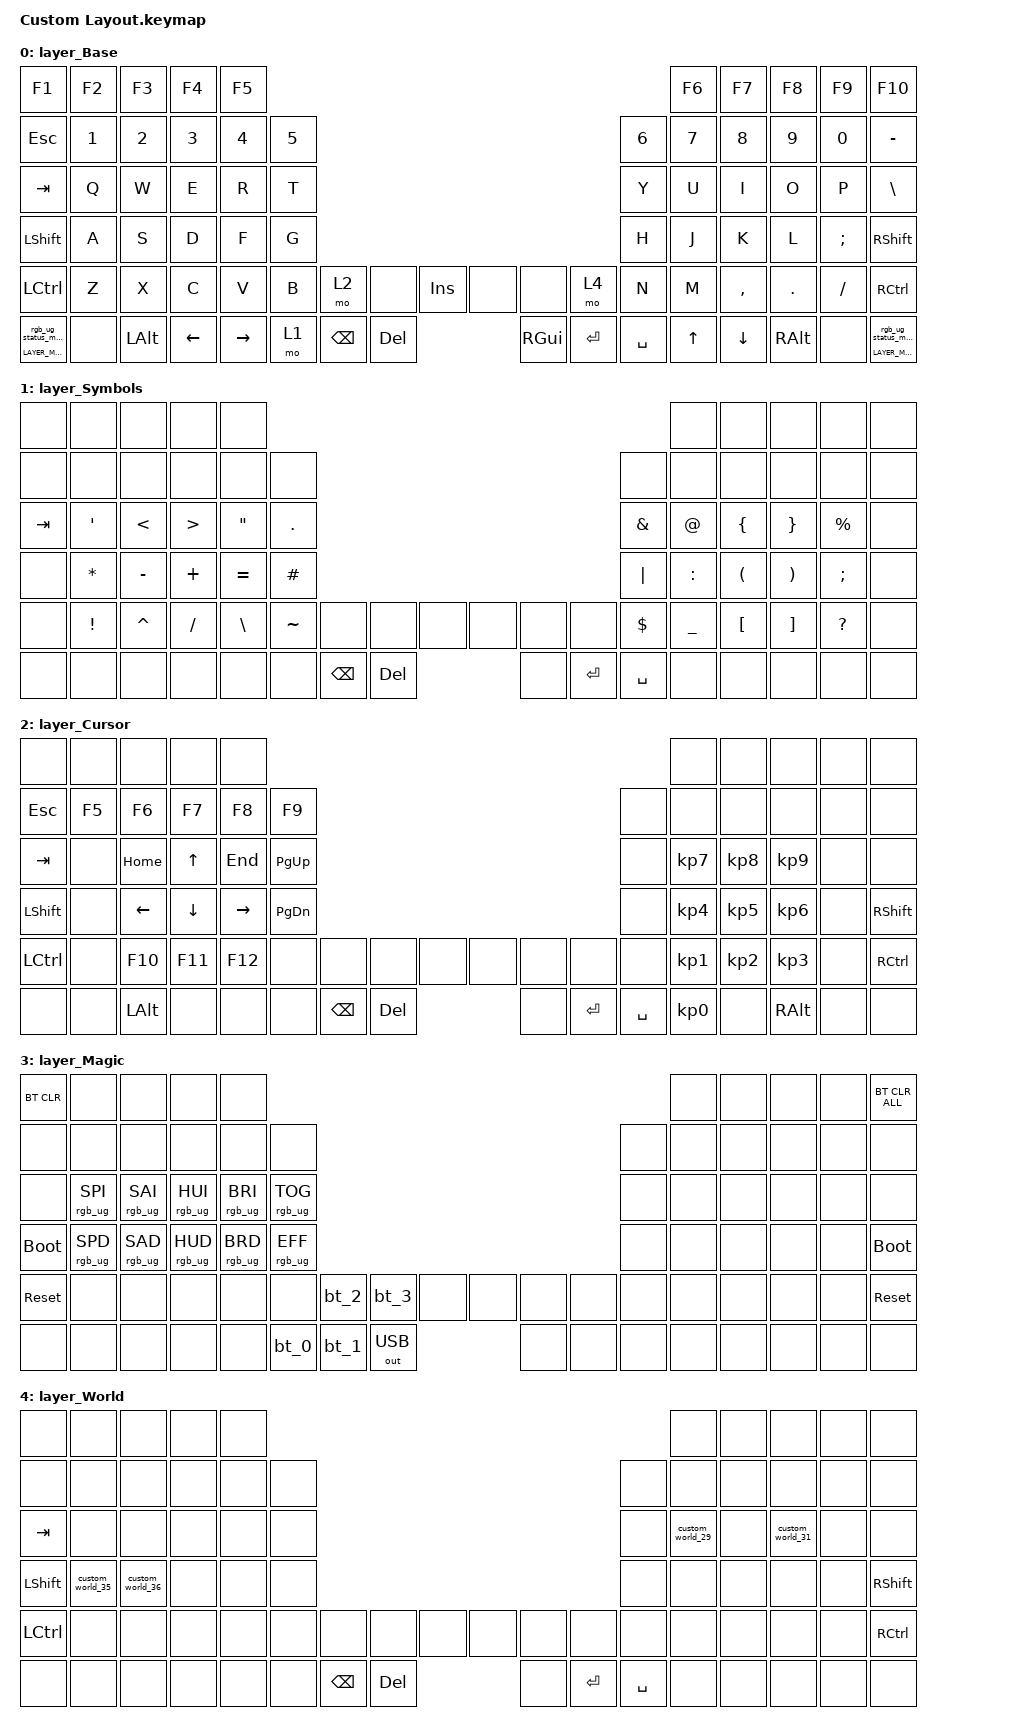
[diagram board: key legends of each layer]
/*
 * Copyright (c) 2020 The ZMK Contributors
 * Copyright (c) 2025 Innaworks Development Limited, trading as MoErgo
 *
 * SPDX-License-Identifier: MIT
 */


/* THIS FILE WAS GENERATED BY GLOVE80 LAYOUT EDITOR
 *
 * This file was generated automatically. You may or may not want to
 * edit it directly.
 */

#include <behaviors.dtsi>
/* Include all behavior includes needed */
#include <dt-bindings/zmk/outputs.h>
#include <dt-bindings/zmk/keys.h>
#include <dt-bindings/zmk/bt.h>
#include <dt-bindings/zmk/rgb.h>

/* On demand includes */


/* Automatically generated layer name #define */
#define LAYER_Base 0
#define LAYER_Symbols 1
#define LAYER_Cursor 2
#define LAYER_Magic 3
#define LAYER_World 4

/* To deal with the situation where there is no Lower layer, to keep &lower happy */
#ifndef LAYER_Lower
#define LAYER_Lower 0
#endif

/* Custom Device-tree */


/* Input Listeners */


/* System behavior and Macros */
/ {
    behaviors {
        // For the "layer" key, it'd nice to be able to use it as either a shift or a toggle.
        // Configure it as a tap dance, so the first tap (or hold) is a &mo and the second tap is a &to
        lower: lower {
            compatible = "zmk,behavior-tap-dance";
            label = "LAYER_TAP_DANCE";
            #binding-cells = <0>;
            tapping-term-ms = <200>;
            bindings = <&mo LAYER_Lower>, <&to LAYER_Lower>;
        };
    };
};

/ {
    macros {
        rgb_ug_status_macro: rgb_ug_status_macro {
            label = "RGB_UG_STATUS";
            compatible = "zmk,behavior-macro";
            #binding-cells = <0>;
            bindings
                = <&rgb_ug RGB_STATUS>;
        };
    };
};


/ {
#ifdef BT_DISC_CMD
    behaviors {
        bt_0: bt_0 {
            compatible = "zmk,behavior-tap-dance";
            label = "BT_0";
            #binding-cells = <0>;
            tapping-term-ms = <200>;
            bindings = <&bt_select_0>, <&bt BT_DISC 0>;
        };
        bt_1: bt_1 {
            compatible = "zmk,behavior-tap-dance";
            label = "BT_1";
            #binding-cells = <0>;
            tapping-term-ms = <200>;
            bindings = <&bt_select_1>, <&bt BT_DISC 1>;
        };
        bt_2: bt_2 {
            compatible = "zmk,behavior-tap-dance";
            label = "BT_2";
            #binding-cells = <0>;
            tapping-term-ms = <200>;
            bindings = <&bt_select_2>, <&bt BT_DISC 2>;
        };
        bt_3: bt_3 {
            compatible = "zmk,behavior-tap-dance";
            label = "BT_3";
            #binding-cells = <0>;
            tapping-term-ms = <200>;
            bindings = <&bt_select_3>, <&bt BT_DISC 3>;
        };
    };
    macros {
        bt_select_0: bt_select_0 {
            label = "BT_SELECT_0";
            compatible = "zmk,behavior-macro";
            #binding-cells = <0>;
            bindings
                = <&out OUT_BLE>,
                  <&bt BT_SEL 0>;
        };
        bt_select_1: bt_select_1 {
            label = "BT_SELECT_1";
            compatible = "zmk,behavior-macro";
            #binding-cells = <0>;
            bindings
                = <&out OUT_BLE>,
                  <&bt BT_SEL 1>;
        };
        bt_select_2: bt_select_2 {
            label = "BT_SELECT_2";
            compatible = "zmk,behavior-macro";
            #binding-cells = <0>;
            bindings
                = <&out OUT_BLE>,
                  <&bt BT_SEL 2>;
        };
        bt_select_3: bt_select_3 {
            label = "BT_SELECT_3";
            compatible = "zmk,behavior-macro";
            #binding-cells = <0>;
            bindings
                = <&out OUT_BLE>,
                  <&bt BT_SEL 3>;
        };
    };
#else
    macros {
        bt_0: bt_0 {
            label = "BT_0";
            compatible = "zmk,behavior-macro";
            #binding-cells = <0>;
            bindings
                = <&out OUT_BLE>,
                  <&bt BT_SEL 0>;
        };
        bt_1: bt_1 {
            label = "BT_1";
            compatible = "zmk,behavior-macro";
            #binding-cells = <0>;
            bindings
                = <&out OUT_BLE>,
                  <&bt BT_SEL 1>;
        };
        bt_2: bt_2 {
            label = "BT_2";
            compatible = "zmk,behavior-macro";
            #binding-cells = <0>;
            bindings
                = <&out OUT_BLE>,
                  <&bt BT_SEL 2>;
        };
        bt_3: bt_3 {
            label = "BT_3";
            compatible = "zmk,behavior-macro";
            #binding-cells = <0>;
            bindings
                = <&out OUT_BLE>,
                  <&bt BT_SEL 3>;
        };
    };
#endif
};

/ {
    behaviors {
        magic: magic {
            compatible = "zmk,behavior-hold-tap";
            label = "MAGIC_HOLD_TAP";
            #binding-cells = <2>;
            flavor = "tap-preferred";
            tapping-term-ms = <200>;
            bindings = <&mo>, <&rgb_ug_status_macro>;
        };
    };
};

/* #define for key positions */
#define POS_LH_T1 52
#define POS_LH_T2 53
#define POS_LH_T3 54
#define POS_LH_T4 69
#define POS_LH_T5 70
#define POS_LH_T6 71
#define POS_LH_C1R2 15
#define POS_LH_C1R3 27
#define POS_LH_C1R4 39
#define POS_LH_C1R5 51
#define POS_LH_C2R1 4
#define POS_LH_C2R2 14
#define POS_LH_C2R3 26
#define POS_LH_C2R4 38
#define POS_LH_C2R5 50
#define POS_LH_C2R6 68
#define POS_LH_C3R1 3
#define POS_LH_C3R2 13
#define POS_LH_C3R3 25
#define POS_LH_C3R4 37
#define POS_LH_C3R5 49
#define POS_LH_C3R6 67
#define POS_LH_C4R1 2
#define POS_LH_C4R2 12
#define POS_LH_C4R3 24
#define POS_LH_C4R4 36
#define POS_LH_C4R5 48
#define POS_LH_C4R6 66
#define POS_LH_C5R1 1
#define POS_LH_C5R2 11
#define POS_LH_C5R3 23
#define POS_LH_C5R4 35
#define POS_LH_C5R5 47
#define POS_LH_C5R6 65
#define POS_LH_C6R1 0
#define POS_LH_C6R2 10
#define POS_LH_C6R3 22
#define POS_LH_C6R4 34
#define POS_LH_C6R5 46
#define POS_LH_C6R6 64
#define POS_RH_T1 57
#define POS_RH_T2 56
#define POS_RH_T3 55
#define POS_RH_T4 74
#define POS_RH_T5 73
#define POS_RH_T6 72
#define POS_RH_C1R2 16
#define POS_RH_C1R3 28
#define POS_RH_C1R4 40
#define POS_RH_C1R5 58
#define POS_RH_C2R1 5
#define POS_RH_C2R2 17
#define POS_RH_C2R3 29
#define POS_RH_C2R4 41
#define POS_RH_C2R5 59
#define POS_RH_C2R6 75
#define POS_RH_C3R1 6
#define POS_RH_C3R2 18
#define POS_RH_C3R3 30
#define POS_RH_C3R4 42
#define POS_RH_C3R5 60
#define POS_RH_C3R6 76
#define POS_RH_C4R1 7
#define POS_RH_C4R2 19
#define POS_RH_C4R3 31
#define POS_RH_C4R4 43
#define POS_RH_C4R5 61
#define POS_RH_C4R6 77
#define POS_RH_C5R1 8
#define POS_RH_C5R2 20
#define POS_RH_C5R3 32
#define POS_RH_C5R4 44
#define POS_RH_C5R5 62
#define POS_RH_C5R6 78
#define POS_RH_C6R1 9
#define POS_RH_C6R2 21
#define POS_RH_C6R3 33
#define POS_RH_C6R4 45
#define POS_RH_C6R5 63
#define POS_RH_C6R6 79

/* Custom Defined Behaviors */
/ {
macros {   
    ascii_symbol_ae_lower: ascii_symbol_ae_lower{
        compatible = "zmk,behavior-macro";
        #binding-cells = <0>;
        wait-ms = <1>;
        tap-ms = <1>;
        bindings
           = <&macro_press   &kp LALT>
           , <&macro_tap     &kp KP_N1 &kp KP_N3 &kp KP_N2>
           , <&macro_release &kp LALT>
           ;
    };
    ascii_symbol_ae_upper: ascii_symbol_ae_upper{
        compatible = "zmk,behavior-macro";
        #binding-cells = <0>;
        wait-ms = <1>;
        tap-ms = <1>;
        bindings
           = <&macro_press   &kp LALT>
           , <&macro_tap     &kp KP_N1 &kp KP_N4 &kp KP_N2>
           , <&macro_release &kp LALT>
           ;
    };
    ascii_symbol_oe_lower: ascii_symbol_oe_lower{
        compatible = "zmk,behavior-macro";
        #binding-cells = <0>;
        wait-ms = <1>;
        tap-ms = <1>;
        bindings
           = <&macro_press   &kp LALT>
           , <&macro_tap     &kp KP_N1 &kp KP_N4 &kp KP_N8>
           , <&macro_release &kp LALT>
           ;
    };
    ascii_symbol_oe_upper: ascii_symbol_oe_upper{
        compatible = "zmk,behavior-macro";
        #binding-cells = <0>;
        wait-ms = <1>;
        tap-ms = <1>;
        bindings
           = <&macro_press   &kp LALT>
           , <&macro_tap     &kp KP_N1 &kp KP_N5 &kp KP_N3>
           , <&macro_release &kp LALT>
           ;
    };
    ascii_symbol_ue_lower: ascii_symbol_ue_lower{
        compatible = "zmk,behavior-macro";
        #binding-cells = <0>;
        wait-ms = <1>;
        tap-ms = <1>;
        bindings
           = <&macro_press   &kp LALT>
           , <&macro_tap     &kp KP_N1 &kp KP_N2 &kp KP_N9>
           , <&macro_release &kp LALT>
           ;
    };
    ascii_symbol_ue_upper: ascii_symbol_ue_upper{
        compatible = "zmk,behavior-macro";
        #binding-cells = <0>;
        wait-ms = <1>;
        tap-ms = <1>;
        bindings
           = <&macro_press   &kp LALT>
           , <&macro_tap     &kp KP_N1 &kp KP_N5 &kp KP_N4>
           , <&macro_release &kp LALT>
           ;
    };
    ascii_symbol_sz_lower: ascii_symbol_sz_lower{
        compatible = "zmk,behavior-macro";
        #binding-cells = <0>;
        wait-ms = <1>;
        tap-ms = <1>;
        bindings
           = <&macro_press   &kp LALT>
           , <&macro_tap     &kp KP_N2 &kp KP_N2 &kp KP_N5>
           , <&macro_release &kp LALT>
           ;
    };
    ascii_symbol_sz_upper: ascii_symbol_sz_upper{
        compatible = "zmk,behavior-macro";
        #binding-cells = <0>;
        wait-ms = <1>;
        tap-ms = <1>;
        bindings
           = <&macro_press   &kp LALT>
           , <&macro_tap     &kp KP_N0 &kp KP_N2 &kp KP_N2 &kp KP_N3>
           , <&macro_release &kp LALT>
           ;
    };
};  

behaviors {  
    custom_world_35: custom_world_35 {
      compatible = "zmk,behavior-mod-morph";
      #binding-cells = <0>;
      bindings = <&ascii_symbol_ae_lower>, <&ascii_symbol_ae_upper>;
      mods = <(MOD_LSFT|MOD_RSFT)>;
    };

    custom_world_29: custom_world_29 {
      compatible = "zmk,behavior-mod-morph";
      #binding-cells = <0>;
      bindings = <&ascii_symbol_ue_lower>, <&ascii_symbol_ue_upper>;
      mods = <(MOD_LSFT|MOD_RSFT)>;
    };

    custom_world_31: custom_world_31 {
      compatible = "zmk,behavior-mod-morph";
      #binding-cells = <0>;
      bindings = <&ascii_symbol_oe_lower>, <&ascii_symbol_oe_upper>;
      mods = <(MOD_LSFT|MOD_RSFT)>;
    };

    custom_world_36: custom_world_36 {
      compatible = "zmk,behavior-mod-morph";
      #binding-cells = <0>;
      bindings = <&ascii_symbol_sz_lower>, <&ascii_symbol_sz_upper>;
      mods = <(MOD_LSFT|MOD_RSFT)>;
    };
};

};

/* Automatically generated macro definitions */
/ {
    macros {

    };
};

/* Automatically generated behavior definitions */
/ {
    behaviors {

    };
};

/* Automatically generated combos definitions */


/* Automatically generated keymap */
/ {
    keymap {
        compatible = "zmk,keymap";


        layer_Base {
            bindings = <
               &kp F1  &kp F2    &kp F3    &kp F4     &kp F5                                                                           &kp F6     &kp F7    &kp F8    &kp F9               &kp F10
              &kp ESC  &kp N1    &kp N2    &kp N3     &kp N4  &kp N5                                                           &kp N6  &kp N7     &kp N8    &kp N9    &kp N0             &kp MINUS
              &kp TAB   &kp Q     &kp W     &kp E      &kp R   &kp T                                                            &kp Y   &kp U      &kp I     &kp O     &kp P              &kp BSLH
            &kp LSHFT   &kp A     &kp S     &kp D      &kp F   &kp G                                                            &kp H   &kp J      &kp K     &kp L  &kp SEMI             &kp RSHFT
            &kp LCTRL   &kp Z     &kp X     &kp C      &kp V   &kp B   &mo 2     &none  &kp INS     &none    &none      &mo 4   &kp N   &kp M  &kp COMMA   &kp DOT  &kp FSLH             &kp RCTRL
 &magic LAYER_Magic 0   &none  &kp LALT  &kp LEFT  &kp RIGHT           &mo 1  &kp BSPC  &kp DEL  &kp RGUI  &kp RET  &kp SPACE          &kp UP   &kp DOWN  &kp RALT     &none  &magic LAYER_Magic 0
            >;
        };

        layer_Symbols {
            bindings = <
   &none     &none      &none     &none      &none                                                                                  &none     &none     &none      &none   &none
   &none     &none      &none     &none      &none      &none                                                            &none      &none     &none     &none      &none   &none
 &kp TAB   &kp SQT     &kp LT    &kp GT    &kp DQT    &kp DOT                                                         &kp AMPS     &kp AT  &kp LBRC  &kp RBRC  &kp PRCNT   &none
   &none  &kp STAR  &kp MINUS  &kp PLUS  &kp EQUAL   &kp HASH                                                         &kp PIPE  &kp COLON  &kp LPAR  &kp RPAR   &kp SEMI   &none
   &none  &kp EXCL  &kp CARET  &kp FSLH   &kp BSLH  &kp TILDE   &none     &none    &none   &none    &none      &none  &kp DLLR  &kp UNDER  &kp LBKT  &kp RBKT  &kp QMARK   &none
   &none     &none      &none     &none      &none              &none  &kp BSPC  &kp DEL   &none  &kp RET  &kp SPACE                &none     &none     &none      &none   &none
            >;
        };

        layer_Cursor {
            bindings = <
     &none   &none     &none     &none      &none                                                                                &none      &none      &none   &none      &none
   &kp ESC  &kp F5    &kp F6    &kp F7     &kp F8     &kp F9                                                          &none      &none      &none      &none   &none      &none
   &kp TAB   &none  &kp HOME    &kp UP    &kp END  &kp PG_UP                                                          &none  &kp KP_N7  &kp KP_N8  &kp KP_N9   &none      &none
 &kp LSHFT   &none  &kp LEFT  &kp DOWN  &kp RIGHT  &kp PG_DN                                                          &none  &kp KP_N4  &kp KP_N5  &kp KP_N6   &none  &kp RSHFT
 &kp LCTRL   &none   &kp F10   &kp F11    &kp F12      &none   &none     &none    &none   &none    &none      &none   &none  &kp KP_N1  &kp KP_N2  &kp KP_N3   &none  &kp RCTRL
     &none   &none  &kp LALT     &none      &none              &none  &kp BSPC  &kp DEL   &none  &kp RET  &kp SPACE          &kp KP_N0      &none   &kp RALT   &none      &none
            >;
        };

        layer_Magic {
            bindings = <
  &bt BT_CLR            &none            &none            &none            &none                                                                                  &none   &none   &none   &none  &bt BT_CLR_ALL
       &none            &none            &none            &none            &none            &none                                                         &none   &none   &none   &none   &none           &none
       &none  &rgb_ug RGB_SPI  &rgb_ug RGB_SAI  &rgb_ug RGB_HUI  &rgb_ug RGB_BRI  &rgb_ug RGB_TOG                                                         &none   &none   &none   &none   &none           &none
 &bootloader  &rgb_ug RGB_SPD  &rgb_ug RGB_SAD  &rgb_ug RGB_HUD  &rgb_ug RGB_BRD  &rgb_ug RGB_EFF                                                         &none   &none   &none   &none   &none     &bootloader
  &sys_reset            &none            &none            &none            &none            &none   &bt_2   &bt_3         &none   &none   &none   &none   &none   &none   &none   &none   &none      &sys_reset
       &none            &none            &none            &none            &none                    &bt_0   &bt_1  &out OUT_USB   &none   &none   &none           &none   &none   &none   &none           &none
            >;
        };

        layer_World {
            bindings = <
     &none             &none             &none   &none   &none                                                                                    &none   &none             &none   &none      &none
     &none             &none             &none   &none   &none   &none                                                          &none             &none   &none             &none   &none      &none
   &kp TAB             &none             &none   &none   &none   &none                                                          &none  &custom_world_29   &none  &custom_world_31   &none      &none
 &kp LSHFT  &custom_world_35  &custom_world_36   &none   &none   &none                                                          &none             &none   &none             &none   &none  &kp RSHFT
 &kp LCTRL             &none             &none   &none   &none   &none   &none     &none    &none   &none    &none      &none   &none             &none   &none             &none   &none  &kp RCTRL
     &none             &none             &none   &none   &none           &none  &kp BSPC  &kp DEL   &none  &kp RET  &kp SPACE                     &none   &none             &none   &none      &none
            >;
        };

    };
};
